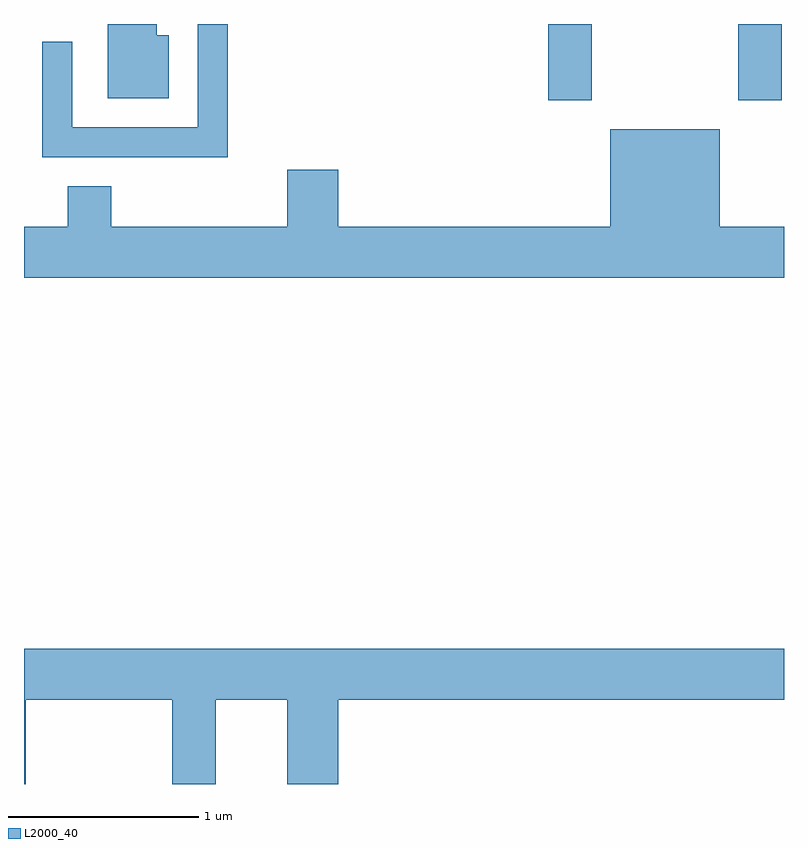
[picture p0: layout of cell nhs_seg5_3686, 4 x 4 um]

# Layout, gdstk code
import gdstk
lib = gdstk.Library(unit=1e-6, precision=1e-09)
def R(c, l, rs):  # rectangles x0, y0, x1, y1
    for r in rs: c.add(gdstk.rectangle(r[:2], r[2:], *l))
def P(c, l, *ps):  # polygons
    for p in ps: c.add(gdstk.Polygon(p, *l))
L2000_40 = (2000, 40)

nhs_seg5_3686 = lib.new_cell('nhs_seg5_3686')
R(nhs_seg5_3686, L2000_40, [(296.371,1517.671,296.599,1518.072), (297.371,1517.671,297.599,1518.072)])
P(nhs_seg5_3686, L2000_40, [(294.374,1518.014),(294.309,1518.014),(294.309,1518.072),(294.051,1518.072),(294.051,1517.681),(294.374,1517.681)],
  [(294.684,1518.072),(294.526,1518.072),(294.526,1517.529),(293.864,1517.529),(293.864,1517.978),(293.706,1517.978),(293.706,1517.371),(294.684,1517.371)],
  [(297.611,1517.004),(297.274,1517.004),(297.274,1517.519),(296.696,1517.519),(296.696,1517.004),(295.264,1517.004),(295.264,1517.304),(294.996,1517.304),(294.996,1517.004),(294.069,1517.004),(294.069,1517.219),(293.841,1517.219),(293.841,1517.004),(293.611,1517.004),(293.611,1516.736),(297.611,1516.736)],
  [(293.619,1514.516),(294.391,1514.516),(294.391,1514.072),(294.619,1514.072),(294.619,1514.516),(294.996,1514.516),(294.996,1514.072),(295.264,1514.072),(295.264,1514.516),(297.611,1514.516),(297.611,1514.784),(293.611,1514.784),(293.611,1514.072),(293.619,1514.072)])

lib.write_gds('nhs_seg5_3686.gds')
